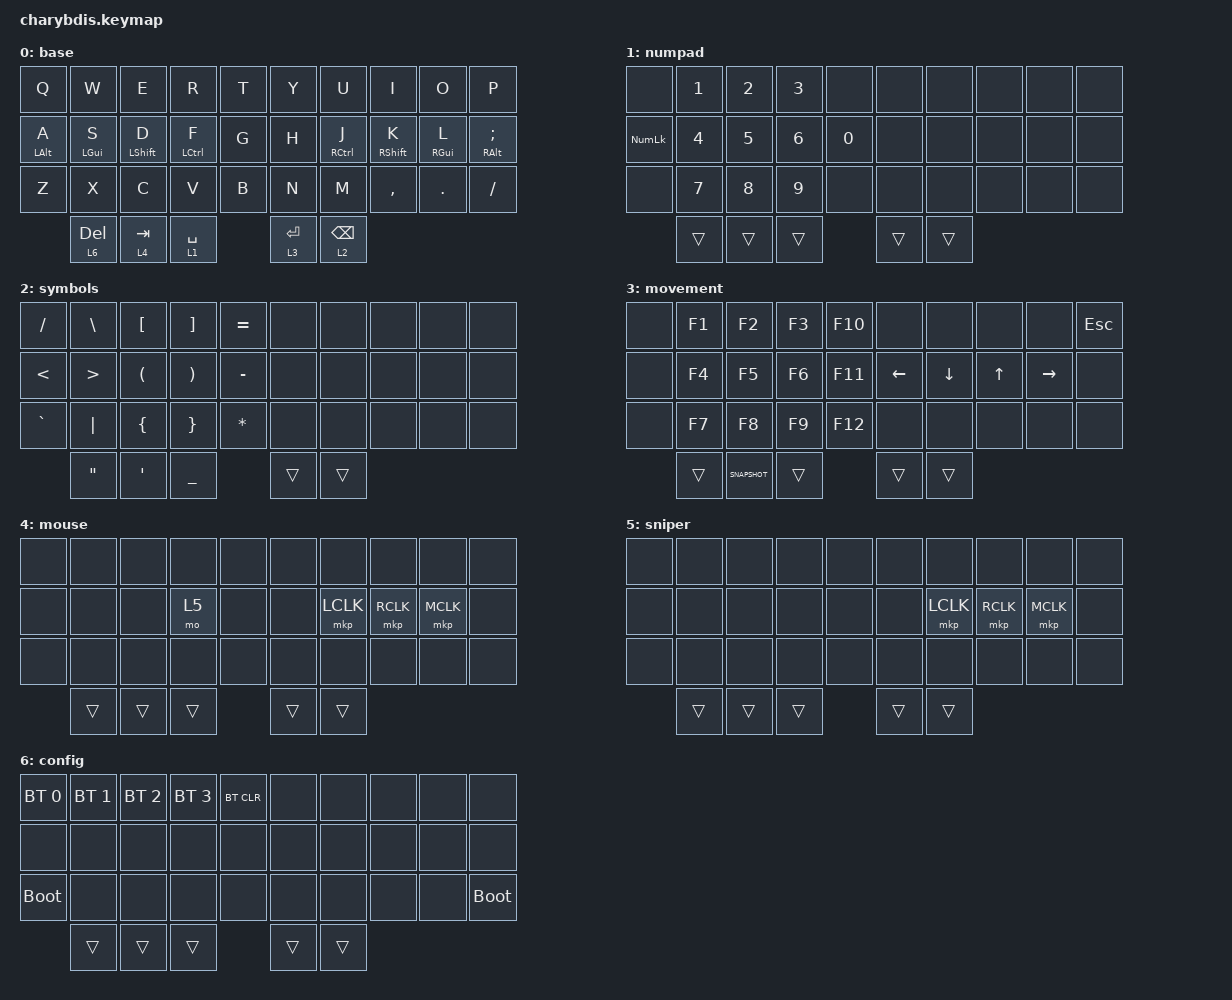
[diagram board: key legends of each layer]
#include <behaviors.dtsi>
#include <dt-bindings/zmk/bt.h>
#include <dt-bindings/zmk/keys.h>
#include <dt-bindings/zmk/mouse.h>

&lt {
    tapping-term-ms = <200>;
    flavor = "balanced";
    quick-tap-ms = <150>;
};

&mt {
    tapping-term-ms = <220>;
    flavor = "tap-preferred";
    quick-tap-ms = <200>;
};

/ {
    keymap {
        compatible = "zmk,keymap";

        // Layer 0: QWERTY Base with scrollball
        base {
            bindings = <
   &kp Q      &kp W      &kp E       &kp R       &kp T          &kp Y       &kp U       &kp I       &kp O      &kp P
   &mt LALT A &mt LGUI S &mt LSHFT D &mt LCTRL F &kp G          &kp H       &mt RCTRL J &mt RSHFT K &mt RGUI L &mt RALT SEMI
   &kp Z      &kp X      &kp C       &kp V       &kp B          &kp N       &kp M       &kp COMMA   &kp DOT    &kp SLASH
                &lt 6 DELETE  &lt 4 TAB &lt 1 SPACE        &lt 3 ENTER &lt 2 BACKSPACE
            >;
            
            trackball-bindings = <&tsl>;
        };

        // Layer 1: Numpad (hold right thumb 1)
        numpad {
            bindings = <
   &none      &kp N1     &kp N2      &kp N3    &none        &none   &none    &none    &none   &none
   &kp KP_NUM &kp N4     &kp N5      &kp N6    &kp N0       &none   &none    &none    &none   &none
   &none      &kp N7     &kp N8      &kp N9    &none        &none   &none    &none    &none   &none
                         &trans      &trans    &trans       &trans  &trans 
            >;
            
            trackball-bindings = <&tsl>;
        };

        // Layer 2: Symbols (hold right thumb 2)
        symbols {
            bindings = <
   &kp FSLH  &kp BSLH   &kp LBKT     &kp RBKT   &kp EQUAL      &none     &none      &none     &none    &none
   &kp LT    &kp GT     &kp LPAR     &kp RPAR   &kp MINUS      &none     &none      &none     &none    &none
   &kp GRAVE &kp PIPE   &kp LBRC     &kp RBRC   &kp STAR       &none     &none      &none     &none    &none
                        &kp DQT      &kp SQT    &kp UNDER      &trans    &trans
            >;
            
            trackball-bindings = <&tsl>;
        };

        // Layer 3: Movement and function keys (hold left's rightmost thumb)
        movement {
            bindings = <
   &none    &kp F1    &kp F2   &kp F3    &kp F10          &none       &none       &none       &none       &kp ESC
   &none    &kp F4    &kp F5   &kp F6    &kp F11          &kp LEFT    &kp DOWN    &kp UP      &kp RIGHT   &none   
   &none    &kp F7    &kp F8   &kp F9    &kp F12          &none       &none       &none       &none       &none
                     &trans  &kp C_SNAPSHOT   &trans         &trans      &trans
            >;
            
            trackball-bindings = <&tsl>;
        };

        // Layer 4: Mouse (hold middle left thumb)
        mouse {
            bindings = <
   &none    &none    &none   &none    &none          &none       &none       &none       &none       &none
   &none    &none    &none   &mo 5    &none          &none       &mkp LCLK   &mkp RCLK   &mkp MCLK   &none   
   &none    &none    &none   &none    &none          &none       &none       &none       &none       &none
                     &trans  &trans   &trans         &trans      &trans
            >;
            
            trackball-bindings = <&tmv_coarse>;
        };

        // Layer 5: Sniper (momentary from layer 4)
        sniper {
            bindings = <
   &none    &none    &none   &none    &none          &none       &none       &none       &none       &none
   &none    &none    &none   &none    &none          &none       &mkp LCLK   &mkp RCLK   &mkp MCLK   &none   
   &none    &none    &none   &none    &none          &none       &none       &none       &none       &none
                            &trans    &trans         &trans      &trans      &trans
            >;
            
            trackball-bindings = <&tmv>;
        };
        
        // Layer 6: Config (hold leftmost left thumb)
        config {
            bindings = <
   &bt BT_SEL 0  &bt BT_SEL 1  &bt BT_SEL 2  &bt BT_SEL 3  &bt BT_CLR     &none       &none       &none       &none       &none
   &none         &none         &none         &none         &none          &none       &none       &none       &none       &none
   &bootloader   &none         &none         &none         &none          &none       &none       &none       &none       &bootloader
                               &trans        &trans        &trans         &trans      &trans
            >;
            
            trackball-bindings = <&tsl>;
        };
    };
};
